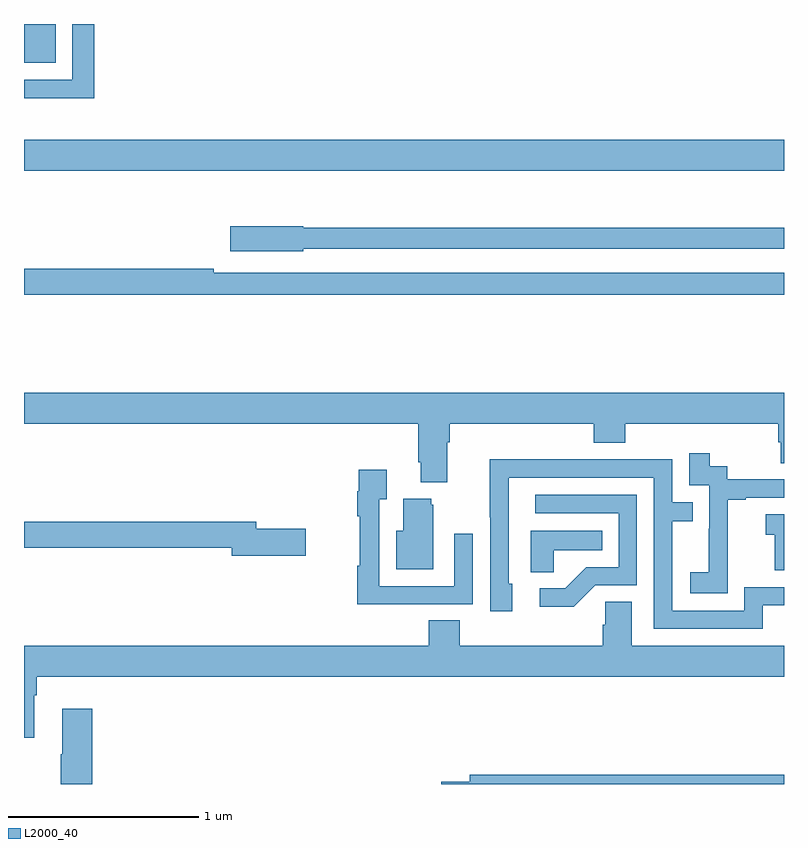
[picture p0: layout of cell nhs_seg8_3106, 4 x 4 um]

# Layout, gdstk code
import gdstk
lib = gdstk.Library(unit=1e-6, precision=1e-09)
def R(c, l, rs):  # rectangles x0, y0, x1, y1
    for r in rs: c.add(gdstk.rectangle(r[:2], r[2:], *l))
def P(c, l, *ps):  # polygons
    for p in ps: c.add(gdstk.Polygon(p, *l))
L2000_40 = (2000, 40)

nhs_seg8_3106 = lib.new_cell('nhs_seg8_3106')
R(nhs_seg8_3106, L2000_40, [(303,1155.128,307,1155.292)])
P(nhs_seg8_3106, L2000_40, [(303.166,1155.898),(303.127,1155.898),(303.127,1155.9),(303,1155.9),(303,1155.695),(303.166,1155.695)],
  [(303.371,1155.9),(303.255,1155.9),(303.255,1155.606),(303,1155.606),(303,1155.51),(303.079,1155.51),(303.079,1155.509),(303.371,1155.509)],
  [(304.47,1154.718),(307,1154.718),(307,1154.827),(304.47,1154.827),(304.47,1154.835),(304.086,1154.835),(304.086,1154.705),(304.47,1154.705)],
  [(307,1154.592),(303.998,1154.592),(303.998,1154.612),(303,1154.612),(303,1154.476),(307,1154.476)],
  [(305.227,1153.7),(305.24,1153.7),(305.24,1153.796),(305.999,1153.796),(305.999,1153.697),(306.164,1153.697),(306.164,1153.796),(306.971,1153.796),(306.971,1153.698),(306.983,1153.698),(306.983,1153.588),(307,1153.588),(307,1153.96),(303,1153.96),(303,1153.796),(305.075,1153.796),(305.075,1153.594),(305.087,1153.594),(305.087,1153.487),(305.227,1153.487)],
  [(306.705,1153.111),(306.704,1153.111),(306.704,1153.395),(306.799,1153.395),(306.799,1153.407),(307,1153.407),(307,1153.503),(306.702,1153.503),(306.702,1153.572),(306.61,1153.572),(306.61,1153.642),(306.501,1153.642),(306.501,1153.473),(306.606,1153.473),(306.606,1153.244),(306.605,1153.244),(306.605,1153.015),(306.507,1153.015),(306.507,1152.905),(306.705,1152.905)],
  [(306.889,1152.84),(307,1152.84),(307,1152.936),(306.792,1152.936),(306.792,1152.813),(306.411,1152.813),(306.411,1153.282),(306.521,1153.282),(306.521,1153.383),(306.411,1153.383),(306.411,1153.608),(305.915,1153.608),(305.915,1153.61),(305.452,1153.61),(305.452,1153.303),(305.454,1153.303),(305.454,1152.81),(305.569,1152.81),(305.569,1152.954),(305.55,1152.954),(305.55,1153.512),(306.315,1153.512),(306.315,1152.717),(306.889,1152.717)],
  [(305.045,1152.846),(305.361,1152.846),(305.361,1153.216),(305.265,1153.216),(305.265,1152.942),(304.869,1152.942),(304.869,1153.399),(304.909,1153.399),(304.909,1153.555),(304.761,1153.555),(304.761,1153.442),(304.753,1153.442),(304.753,1153.31),(304.768,1153.31),(304.768,1153.049),(304.753,1153.049),(304.753,1152.845),(305.045,1152.845)],
  [(306.006,1152.945),(306.225,1152.945),(306.225,1153.422),(305.691,1153.422),(305.691,1153.326),(306.129,1153.326),(306.129,1153.041),(305.96,1153.041),(305.849,1152.93),(305.715,1152.93),(305.715,1152.833),(305.893,1152.833)],
  [(305.155,1153.371),(305.144,1153.371),(305.144,1153.402),(304.997,1153.402),(304.997,1153.234),(304.958,1153.234),(304.958,1153.031),(305.155,1153.031)],
  [(307,1153.321),(306.903,1153.321),(306.903,1153.211),(306.952,1153.211),(306.952,1153.026),(307,1153.026)],
  [(304.483,1153.244),(304.222,1153.244),(304.222,1153.28),(303,1153.28),(303,1153.144),(304.094,1153.144),(304.094,1153.102),(304.483,1153.102)],
  [(305.787,1153.13),(306.044,1153.13),(306.044,1153.234),(305.666,1153.234),(305.666,1153.015),(305.787,1153.015)],
  [(303.055,1152.368),(303.068,1152.368),(303.068,1152.464),(307,1152.464),(307,1152.628),(306.199,1152.628),(306.199,1152.86),(306.06,1152.86),(306.06,1152.737),(306.047,1152.737),(306.047,1152.628),(305.294,1152.628),(305.294,1152.761),(305.129,1152.761),(305.129,1152.628),(303,1152.628),(303,1152.144),(303.055,1152.144)],
  [(303.359,1152.295),(303.2,1152.295),(303.2,1152.056),(303.193,1152.056),(303.193,1151.9),(303.359,1151.9)],
  [(307,1151.948),(305.345,1151.948),(305.345,1151.912),(305.196,1151.912),(305.196,1151.9),(307,1151.9)])

lib.write_gds('nhs_seg8_3106.gds')
